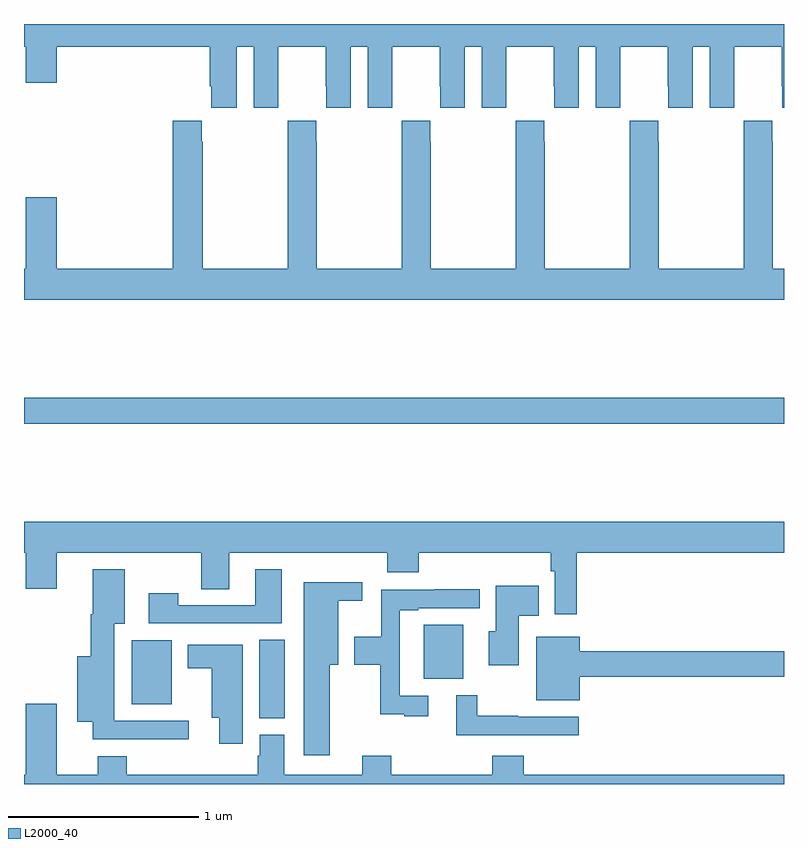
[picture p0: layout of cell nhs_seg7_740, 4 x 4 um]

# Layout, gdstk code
import gdstk
lib = gdstk.Library(unit=1e-6, precision=1e-09)
def R(c, l, rs):  # rectangles x0, y0, x1, y1
    for r in rs: c.add(gdstk.rectangle(r[:2], r[2:], *l))
def P(c, l, *ps):  # polygons
    for p in ps: c.add(gdstk.Polygon(p, *l))
L2000_40 = (2000, 40)

nhs_seg7_740 = lib.new_cell('nhs_seg7_740')
R(nhs_seg7_740, L2000_40, [(166.238,1066.345,166.372,1066.76), (165.566,1066.421,165.778,1066.756), (167.105,1066.553,167.311,1066.837), (165,1067.896,169,1068.032)])
P(nhs_seg7_740, L2000_40, [(166.12,1069.88),(166.208,1069.88),(166.208,1069.56),(166.338,1069.56),(166.338,1069.672),(166.339,1069.672),(166.339,1069.88),(166.589,1069.88),(166.589,1069.672),(166.59,1069.672),(166.59,1069.56),(166.72,1069.56),(166.72,1069.88),(166.808,1069.88),(166.808,1069.56),(166.938,1069.56),(166.938,1069.672),(166.939,1069.672),(166.939,1069.88),(167.189,1069.88),(167.189,1069.672),(167.19,1069.672),(167.19,1069.56),(167.32,1069.56),(167.32,1069.88),(167.408,1069.88),(167.408,1069.56),(167.538,1069.56),(167.538,1069.672),(167.539,1069.672),(167.539,1069.88),(167.789,1069.88),(167.789,1069.672),(167.79,1069.672),(167.79,1069.56),(167.92,1069.56),(167.92,1069.88),(168.008,1069.88),(168.008,1069.56),(168.138,1069.56),(168.138,1069.672),(168.139,1069.672),(168.139,1069.88),(168.389,1069.88),(168.389,1069.672),(168.39,1069.672),(168.39,1069.56),(168.52,1069.56),(168.52,1069.88),(168.608,1069.88),(168.608,1069.56),(168.738,1069.56),(168.738,1069.672),(168.739,1069.672),(168.739,1069.88),(168.989,1069.88),(168.989,1069.672),(168.99,1069.672),(168.99,1069.56),(169,1069.56),(169,1070),(165,1070),(165,1069.88),(165.008,1069.88),(165.008,1069.692),(165.172,1069.692),(165.172,1069.88),(165.977,1069.88),(165.977,1069.672),(165.986,1069.672),(165.986,1069.56),(166.12,1069.56)],
  [(169,1068.712),(168.942,1068.712),(168.942,1069.379),(168.939,1069.379),(168.939,1069.492),(168.789,1069.492),(168.789,1069.379),(168.787,1069.379),(168.787,1068.712),(168.342,1068.712),(168.342,1069.379),(168.339,1069.379),(168.339,1069.492),(168.189,1069.492),(168.189,1069.379),(168.187,1069.379),(168.187,1068.712),(167.742,1068.712),(167.742,1069.379),(167.739,1069.379),(167.739,1069.492),(167.589,1069.492),(167.589,1069.379),(167.587,1069.379),(167.587,1068.712),(167.142,1068.712),(167.142,1069.379),(167.139,1069.379),(167.139,1069.492),(166.989,1069.492),(166.989,1069.379),(166.987,1069.379),(166.987,1068.712),(166.542,1068.712),(166.542,1069.379),(166.539,1069.379),(166.539,1069.492),(166.389,1069.492),(166.389,1069.379),(166.387,1069.379),(166.387,1068.712),(165.942,1068.712),(165.942,1069.379),(165.935,1069.379),(165.935,1069.492),(165.782,1069.492),(165.782,1068.712),(165.172,1068.712),(165.172,1069.087),(165.008,1069.087),(165.008,1068.712),(165,1068.712),(165,1068.548),(169,1068.548)],
  [(167.909,1067.216),(169,1067.216),(169,1067.38),(165,1067.38),(165,1067.216),(165.008,1067.216),(165.008,1067.028),(165.172,1067.028),(165.172,1067.216),(165.934,1067.216),(165.934,1067.026),(166.081,1067.026),(166.081,1067.216),(166.913,1067.216),(166.913,1067.114),(167.078,1067.114),(167.078,1067.216),(167.773,1067.216),(167.773,1067.12),(167.793,1067.12),(167.793,1066.893),(167.909,1066.893)],
  [(165.868,1066.332),(165.475,1066.332),(165.475,1066.844),(165.529,1066.844),(165.529,1067.131),(165.362,1067.131),(165.362,1066.893),(165.35,1066.893),(165.35,1066.672),(165.281,1066.672),(165.281,1066.328),(165.362,1066.328),(165.362,1066.235),(165.868,1066.235)],
  [(166.357,1067.131),(166.217,1067.131),(166.217,1066.941),(165.813,1066.941),(165.813,1067.005),(165.657,1067.005),(165.657,1066.845),(166.357,1066.845)],
  [(166.609,1066.628),(166.654,1066.628),(166.654,1066.964),(166.78,1066.964),(166.78,1067.062),(166.472,1067.062),(166.472,1066.152),(166.609,1066.152)],
  [(167.605,1066.886),(167.708,1066.886),(167.708,1067.044),(167.483,1067.044),(167.483,1066.803),(167.447,1066.803),(167.447,1066.625),(167.605,1066.625)],
  [(167.128,1066.464),(166.977,1066.464),(166.977,1066.914),(167.074,1066.914),(167.074,1066.926),(167.398,1066.926),(167.398,1067.024),(167.161,1067.024),(167.161,1067.022),(166.879,1067.022),(166.879,1066.774),(166.739,1066.774),(166.739,1066.627),(166.876,1066.627),(166.876,1066.367),(167,1066.367),(167,1066.356),(167.128,1066.356)],
  [(167.926,1066.564),(169,1066.564),(169,1066.7),(167.926,1066.7),(167.926,1066.774),(167.696,1066.774),(167.696,1066.442),(167.926,1066.442)],
  [(166.15,1066.732),(165.863,1066.732),(165.863,1066.61),(165.989,1066.61),(165.989,1066.349),(166.028,1066.349),(166.028,1066.212),(166.15,1066.212)],
  [(167.92,1066.353),(167.6,1066.353),(167.6,1066.358),(167.386,1066.358),(167.386,1066.468),(167.276,1066.468),(167.276,1066.257),(167.92,1066.257)],
  [(169,1066.048),(167.63,1066.048),(167.63,1066.15),(167.465,1066.15),(167.465,1066.048),(166.934,1066.048),(166.934,1066.15),(166.781,1066.15),(166.781,1066.048),(166.369,1066.048),(166.369,1066.26),(166.241,1066.26),(166.241,1066.149),(166.229,1066.149),(166.229,1066.048),(165.542,1066.048),(165.542,1066.147),(165.389,1066.147),(165.389,1066.048),(165.172,1066.048),(165.172,1066.423),(165.008,1066.423),(165.008,1066.048),(165,1066.048),(165,1066),(169,1066)])

lib.write_gds('nhs_seg7_740.gds')
